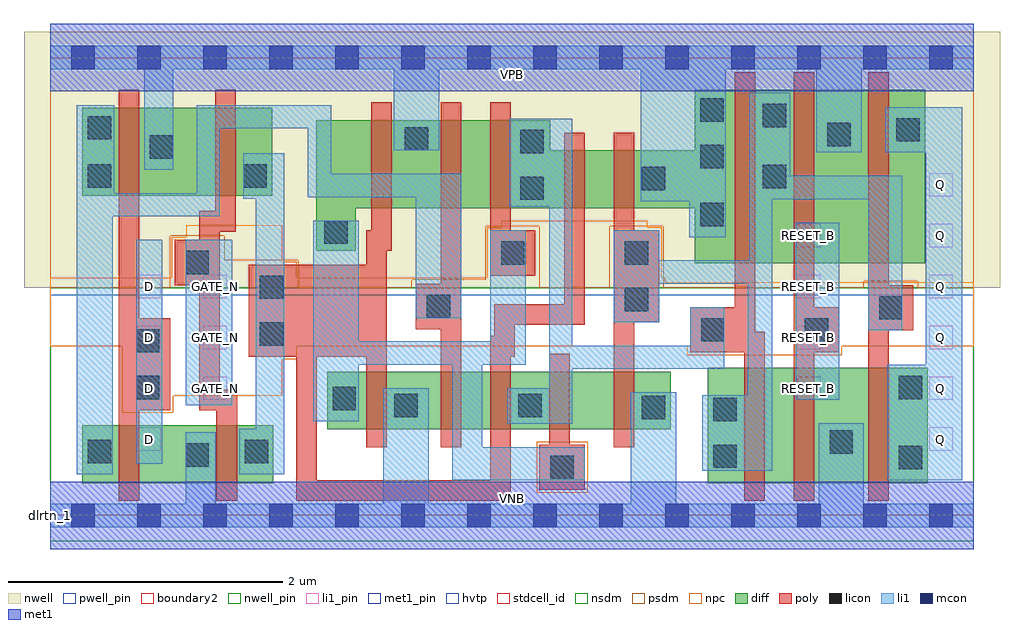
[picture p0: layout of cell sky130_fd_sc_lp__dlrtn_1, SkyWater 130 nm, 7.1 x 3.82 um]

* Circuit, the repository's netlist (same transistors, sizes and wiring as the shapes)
* Copyright 2020 The SkyWater PDK Authors
*
* Licensed under the Apache License, Version 2.0 (the "License");
* you may not use this file except in compliance with the License.
* You may obtain a copy of the License at
*
*     https://www.apache.org/licenses/LICENSE-2.0
*
* Unless required by applicable law or agreed to in writing, software
* distributed under the License is distributed on an "AS IS" BASIS,
* WITHOUT WARRANTIES OR CONDITIONS OF ANY KIND, either express or implied.
* See the License for the specific language governing permissions and
* limitations under the License.
*
* SPDX-License-Identifier: Apache-2.0

.SUBCKT sky130_fd_sc_lp__dlrtn_1 D GATE_N RESET_B VGND VNB VPB VPWR Q
*.PININFO D:I GATE_N:I RESET_B:I VGND:I VNB:I VPB:I VPWR:I Q:O
MI635 clkneg clkpos VPWR VPB sky130_fd_pr__pfet_01v8_hvt m=1 w=0.64U l=0.15U mult=1
+ sa=0.265 sb=0.265 sd=0.28 area=0.063 perim=1.14
MI17 M0 clkneg net51 VPB sky130_fd_pr__pfet_01v8_hvt m=1 w=0.64U l=0.15U mult=1
+ sa=0.265 sb=0.265 sd=0.28 area=0.063 perim=1.14
MI650 Q m1 VPWR VPB sky130_fd_pr__pfet_01v8_hvt m=1 w=1.26U l=0.15U mult=1 sa=0.265
+ sb=0.265 sd=0.28 area=0.063 perim=1.14
MI633 clkpos GATE_N VPWR VPB sky130_fd_pr__pfet_01v8_hvt m=1 w=0.64U l=0.15U mult=1
+ sa=0.265 sb=0.265 sd=0.28 area=0.063 perim=1.14
MI658 m1 RESET_B VPWR VPB sky130_fd_pr__pfet_01v8_hvt m=1 w=1.26U l=0.15U mult=1
+ sa=0.265 sb=0.265 sd=0.28 area=0.063 perim=1.14
MI18 net51 db VPWR VPB sky130_fd_pr__pfet_01v8_hvt m=1 w=0.64U l=0.15U mult=1 sa=0.265
+ sb=0.265 sd=0.28 area=0.063 perim=1.14
MI653 net59 m1 VPWR VPB sky130_fd_pr__pfet_01v8_hvt m=1 w=0.42U l=0.15U mult=1
+ sa=0.265 sb=0.265 sd=0.28 area=0.063 perim=1.14
MI651 M0 clkpos net59 VPB sky130_fd_pr__pfet_01v8_hvt m=1 w=0.42U l=0.15U mult=1
+ sa=0.265 sb=0.265 sd=0.28 area=0.063 perim=1.14
MI655 m1 M0 VPWR VPB sky130_fd_pr__pfet_01v8_hvt m=1 w=1.26U l=0.15U mult=1 sa=0.265
+ sb=0.265 sd=0.28 area=0.063 perim=1.14
MI638 db D VPWR VPB sky130_fd_pr__pfet_01v8_hvt m=1 w=0.64U l=0.15U mult=1 sa=0.265
+ sb=0.265 sd=0.28 area=0.063 perim=1.14
MI634 clkpos GATE_N VGND VNB sky130_fd_pr__nfet_01v8 m=1 w=0.42U l=0.15U mult=1
+ sa=0.265 sb=0.265 sd=0.28 area=0.063 perim=1.14
MI649 Q m1 VGND VNB sky130_fd_pr__nfet_01v8 m=1 w=0.84U l=0.15U mult=1 sa=0.265
+ sb=0.265 sd=0.28 area=0.063 perim=1.14
MI657 net86 RESET_B VGND VNB sky130_fd_pr__nfet_01v8 m=1 w=0.84U l=0.15U mult=1
+ sa=0.265 sb=0.265 sd=0.28 area=0.063 perim=1.14
MI652 M0 clkneg net102 VNB sky130_fd_pr__nfet_01v8 m=1 w=0.42U l=0.15U mult=1 sa=0.265
+ sb=0.265 sd=0.28 area=0.063 perim=1.14
MI654 net102 m1 VGND VNB sky130_fd_pr__nfet_01v8 m=1 w=0.42U l=0.15U mult=1 sa=0.265
+ sb=0.265 sd=0.28 area=0.063 perim=1.14
MI656 m1 M0 net86 VNB sky130_fd_pr__nfet_01v8 m=1 w=0.84U l=0.15U mult=1 sa=0.265
+ sb=0.265 sd=0.28 area=0.063 perim=1.14
MI636 clkneg clkpos VGND VNB sky130_fd_pr__nfet_01v8 m=1 w=0.42U l=0.15U mult=1
+ sa=0.265 sb=0.265 sd=0.28 area=0.063 perim=1.14
MI637 db D VGND VNB sky130_fd_pr__nfet_01v8 m=1 w=0.42U l=0.15U mult=1 sa=0.265
+ sb=0.265 sd=0.28 area=0.063 perim=1.14
MI19 M0 clkpos net98 VNB sky130_fd_pr__nfet_01v8 m=1 w=0.42U l=0.15U mult=1 sa=0.265
+ sb=0.265 sd=0.28 area=0.063 perim=1.14
MI20 net98 db VGND VNB sky130_fd_pr__nfet_01v8 m=1 w=0.42U l=0.15U mult=1 sa=0.265
+ sb=0.265 sd=0.28 area=0.063 perim=1.14
.ENDS sky130_fd_sc_lp__dlrtn_1

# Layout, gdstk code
import gdstk
lib = gdstk.Library(unit=1e-6, precision=1e-09)
def R(c, l, rs):  # rectangles x0, y0, x1, y1
    for r in rs: c.add(gdstk.rectangle(r[:2], r[2:], *l))
def A(c, l, x, y, w, h, nx, ny, dx, dy):  # array of equal rectangles
    R(c, l, [(x+i*dx, y+j*dy, x+i*dx+w, y+j*dy+h) for i in range(nx) for j in range(ny)])
def P(c, l, *ps):  # polygons
    for p in ps: c.add(gdstk.Polygon(p, *l))
nwell_pin = (64, 16)
nwell = (64, 20)
diff = (65, 20)
poly = (66, 20)
licon = (66, 44)
li1_pin = (67, 16)
li1 = (67, 20)
mcon = (67, 44)
met1_pin = (68, 16)
met1 = (68, 20)
hvtp = (78, 44)
stdcell_id = (81, 4)
nsdm = (93, 44)
psdm = (94, 20)
npc = (95, 20)
pwell_pin = (122, 16)
boundary2 = (236, 0)

sky130_fd_sc_lp__dlrtn_1 = lib.new_cell('sky130_fd_sc_lp__dlrtn_1')
R(sky130_fd_sc_lp__dlrtn_1, nwell_pin, [(0,3.085,6.72,3.33)])
R(sky130_fd_sc_lp__dlrtn_1, nwell, [(-0.19,1.655,6.91,3.52)])
R(sky130_fd_sc_lp__dlrtn_1, diff, [(0.235,0.235,1.625,0.655), (4.785,0.235,6.385,1.075), (2.015,0.625,4.515,1.045), (0.235,2.325,1.615,2.965)])
P(sky130_fd_sc_lp__dlrtn_1, diff, [(6.365,3.095),(4.69,3.095),(4.69,2.655),(3.64,2.655),(3.64,2.875),(1.935,2.875),(1.935,1.925),(2.225,1.925),(2.225,2.235),(4.69,2.235),(4.69,1.835),(6.365,1.835)])
P(sky130_fd_sc_lp__dlrtn_1, poly, [(0.875,1.435),(0.65,1.435),(0.65,3.095),(0.5,3.095),(0.5,0.105),(0.65,0.105),(0.65,0.765),(0.875,0.765)],
  [(1.36,0.915),(1.235,0.915),(1.235,2.065),(1.35,2.065),(1.35,3.095),(1.2,3.095),(1.2,2.215),(1.085,2.215),(1.085,2.005),(0.905,2.005),(0.905,1.675),(1.085,1.675),(1.085,0.765),(1.21,0.765),(1.21,0.105),(1.36,0.105)],
  [(2.99,3.005),(2.84,3.005),(2.84,1.685),(2.66,1.685),(2.66,1.355),(2.84,1.355),(2.84,0.495),(2.99,0.495)],
  [(3.53,2.075),(3.35,2.075),(3.35,3.005),(3.2,3.005),(3.2,1.745),(3.53,1.745)],
  [(3.89,2.785),(3.74,2.785),(3.74,1.535),(3.23,1.535),(3.23,1.305),(3.2,1.305),(3.2,0.255),(1.94,0.255),(1.94,1.155),(2.3,1.155),(2.3,0.495),(2.45,0.495),(2.45,1.925),(2.485,1.925),(2.485,3.005),(2.335,3.005),(2.335,2.075),(2.3,2.075),(2.3,1.825),(1.445,1.825),(1.445,1.155),(1.79,1.155),(1.79,0.105),(3.35,0.105),(3.35,1.155),(3.38,1.155),(3.38,1.385),(3.89,1.385)],
  [(3.89,0.515),(3.78,0.515),(3.78,1.175),(3.63,1.175),(3.63,0.515),(3.56,0.515),(3.56,0.185),(3.89,0.185)],
  [(4.43,2.075),(4.25,2.075),(4.25,2.785),(4.1,2.785),(4.1,0.495),(4.25,0.495),(4.25,1.405),(4.43,1.405)],
  [(5.2,1.335),(5.13,1.335),(5.13,3.225),(4.98,3.225),(4.98,1.515),(4.655,1.515),(4.655,1.185),(5.05,1.185),(5.05,0.105),(5.2,0.105)],
  [(5.74,1.515),(5.56,1.515),(5.56,3.225),(5.41,3.225),(5.41,0.105),(5.56,0.105),(5.56,1.185),(5.74,1.185)],
  [(6.28,1.675),(6.1,1.675),(6.1,3.225),(5.95,3.225),(5.95,0.105),(6.1,0.105),(6.1,1.345),(6.28,1.345)])
R(sky130_fd_sc_lp__dlrtn_1, licon, [(3.64,0.265,3.81,0.435), (6.175,0.335,6.345,0.505), (4.825,0.345,4.995,0.515), (0.985,0.355,1.155,0.525), (0.275,0.38,0.445,0.55), (1.415,0.38,1.585,0.55), (5.67,0.45,5.84,0.62), (4.825,0.685,4.995,0.855), (4.305,0.7,4.475,0.87), (2.505,0.715,2.675,0.885), (3.405,0.715,3.575,0.885), (2.055,0.765,2.225,0.935), (0.625,0.845,0.795,1.015), (6.175,0.845,6.345,1.015), (0.625,1.185,0.795,1.355), (1.525,1.235,1.695,1.405), (4.735,1.265,4.905,1.435), (5.49,1.265,5.66,1.435), (6.03,1.425,6.2,1.595), (2.74,1.435,2.91,1.605), (4.18,1.485,4.35,1.655), (1.525,1.575,1.695,1.745), (0.985,1.755,1.155,1.925), (3.28,1.825,3.45,1.995), (4.18,1.825,4.35,1.995), (1.995,1.975,2.165,2.145), (4.73,2.105,4.9,2.275), (3.42,2.295,3.59,2.465), (4.305,2.365,4.475,2.535), (5.185,2.38,5.355,2.55), (0.275,2.385,0.445,2.555), (1.405,2.385,1.575,2.555), (4.73,2.525,4.9,2.695), (0.725,2.595,0.895,2.765), (3.42,2.635,3.59,2.805), (2.58,2.655,2.75,2.825), (5.655,2.685,5.825,2.855), (6.155,2.72,6.325,2.89), (0.275,2.735,0.445,2.905), (5.185,2.825,5.355,2.995), (4.73,2.865,4.9,3.035)])
A(sky130_fd_sc_lp__dlrtn_1, li1_pin, 0.635, 0.47, 0.17, 0.17, 1, 4, 0, 0.37)
A(sky130_fd_sc_lp__dlrtn_1, li1_pin, 6.395, 0.47, 0.17, 0.17, 1, 6, 0, 0.37)
A(sky130_fd_sc_lp__dlrtn_1, li1_pin, 1.115, 0.84, 0.17, 0.17, 1, 3, 0, 0.37)
A(sky130_fd_sc_lp__dlrtn_1, li1_pin, 5.435, 0.84, 0.17, 0.17, 1, 4, 0, 0.37)
R(sky130_fd_sc_lp__dlrtn_1, li1, [(0.625,0.375,0.815,2.005), (0.985,0.8,1.325,2.005), (5.425,0.84,5.74,2.13)])
P(sky130_fd_sc_lp__dlrtn_1, li1, [(1.915,0.685),(1.915,2.145),(2.245,2.145),(2.245,1.265),(3.2,1.265),(3.2,2.075),(3.46,2.075),(3.46,1.095),(3.145,1.095),(3.145,0.495),(3.89,0.495),(3.89,0.255),(2.925,0.255),(2.925,1.095),(2.245,1.095),(2.245,0.685)],
  [(0.985,0.085),(0.985,0.605),(1.205,0.605),(1.205,0.085),(2.425,0.085),(2.425,0.925),(2.755,0.925),(2.755,0.085),(4.225,0.085),(4.225,0.895),(4.555,0.895),(4.555,0.085),(5.59,0.085),(5.59,0.67),(5.92,0.67),(5.92,0.085),(6.72,0.085),(6.72,-0.085),(0,-0.085),(0,0.085)],
  [(6.2,2.47),(5.385,2.47),(5.385,3.075),(5.085,3.075),(5.085,1.855),(4.43,1.855),(4.43,2.075),(4.1,2.075),(4.1,1.405),(4.43,1.405),(4.43,1.685),(5.075,1.685),(5.075,0.875),(4.745,0.875),(4.745,0.325),(5.255,0.325),(5.255,2.3),(5.95,2.3),(5.95,1.345),(6.2,1.345)],
  [(6.635,2.97),(6.635,0.255),(6.09,0.255),(6.09,1.095),(6.37,1.095),(6.37,2.64),(6.075,2.64),(6.075,2.97)],
  [(3.8,1.235),(4.655,1.235),(4.655,1.515),(4.905,1.515),(4.905,1.065),(3.8,1.065),(3.8,0.665),(3.325,0.665),(3.325,0.925),(3.63,0.925),(3.63,2.245),(3.34,2.245),(3.34,2.885),(3.8,2.885)],
  [(1.495,0.63),(1.495,2.305),(1.405,2.305),(1.405,2.635),(1.705,2.635),(1.705,0.3),(1.375,0.3),(1.375,0.63)],
  [(0.195,0.3),(0.195,2.985),(0.465,2.985),(0.465,2.345),(1.065,2.345),(1.065,2.985),(2.045,2.985),(2.045,2.485),(2.99,2.485),(2.99,1.435),(2.66,1.435),(2.66,2.315),(1.875,2.315),(1.875,2.815),(1.235,2.815),(1.235,2.175),(0.455,2.175),(0.455,0.3)],
  [(6.72,3.415),(0,3.415),(0,3.245),(0.685,3.245),(0.685,2.515),(0.895,2.515),(0.895,3.245),(2.5,3.245),(2.5,2.655),(2.83,2.655),(2.83,3.245),(4.295,3.245),(4.295,2.285),(4.65,2.285),(4.65,2.025),(4.915,2.025),(4.915,3.245),(5.575,3.245),(5.575,2.64),(5.905,2.64),(5.905,3.245),(6.72,3.245)])
A(sky130_fd_sc_lp__dlrtn_1, mcon, 0.155, -0.085, 0.17, 0.17, 14, 2, 0.48, 3.33)
R(sky130_fd_sc_lp__dlrtn_1, met1_pin, [(0,0,6.72,0.245), (0,3.085,6.72,3.33)])
R(sky130_fd_sc_lp__dlrtn_1, met1, [(0,-0.245,6.72,0.245), (0,3.085,6.72,3.575)])
R(sky130_fd_sc_lp__dlrtn_1, hvtp, [(0,1.6,6.72,3.33)])
R(sky130_fd_sc_lp__dlrtn_1, stdcell_id, [(0,0,6.72,3.33)])
R(sky130_fd_sc_lp__dlrtn_1, nsdm, [(0,-0.19,6.72,1.655)])
P(sky130_fd_sc_lp__dlrtn_1, psdm, [(6.72,3.52),(0,3.52),(0,1.655),(0.875,1.655),(0.875,2.035),(1.265,2.035),(1.265,1.855),(1.805,1.855),(1.805,1.655),(2.63,1.655),(2.63,1.715),(3.17,1.715),(3.17,2.105),(3.56,2.105),(3.56,1.655),(4.07,1.655),(4.07,2.105),(4.46,2.105),(4.46,1.655),(5.92,1.655),(5.92,1.705),(6.31,1.705),(6.31,1.655),(6.72,1.655)])
R(sky130_fd_sc_lp__dlrtn_1, npc, [(3.54,0.165,3.91,0.535)])
P(sky130_fd_sc_lp__dlrtn_1, npc, [(6.72,1.695),(4.475,1.695),(4.475,1.73),(4.45,1.73),(4.45,2.095),(4.345,2.095),(4.345,2.145),(3.285,2.145),(3.285,2.095),(3.18,2.095),(3.18,1.73),(1.795,1.73),(1.795,1.845),(1.69,1.845),(1.69,2.11),(0.99,2.11),(0.99,2.025),(0.885,2.025),(0.885,1.73),(0,1.73),(0,1.23),(0.525,1.23),(0.525,0.745),(0.895,0.745),(0.895,0.87),(1.69,0.87),(1.69,1.135),(1.795,1.135),(1.795,1.23),(4.635,1.23),(4.635,1.165),(5.76,1.165),(5.76,1.23),(6.72,1.23)])
R(sky130_fd_sc_lp__dlrtn_1, pwell_pin, [(0,0,6.72,0.245)])
R(sky130_fd_sc_lp__dlrtn_1, boundary2, [(0,0,6.72,3.33)])
sky130_fd_sc_lp__dlrtn_1.add(gdstk.Label('VNB', (3.36,0.123), layer=64, texttype=59))
sky130_fd_sc_lp__dlrtn_1.add(gdstk.Label('VPB', (3.36,3.208), layer=64, texttype=5))
sky130_fd_sc_lp__dlrtn_1.add(gdstk.Label('dlrtn_1', (0,0), layer=83, texttype=44))
sky130_fd_sc_lp__dlrtn_1.add(gdstk.Label('VPWR', (3.36,3.208), layer=68, texttype=5))
sky130_fd_sc_lp__dlrtn_1.add(gdstk.Label('VGND', (3.36,0.123), layer=68, texttype=5))
sky130_fd_sc_lp__dlrtn_1.add(gdstk.Label('D', (0.72,0.555), layer=67, texttype=5))
sky130_fd_sc_lp__dlrtn_1.add(gdstk.Label('D', (0.72,0.925), layer=67, texttype=5))
sky130_fd_sc_lp__dlrtn_1.add(gdstk.Label('D', (0.72,1.295), layer=67, texttype=5))
sky130_fd_sc_lp__dlrtn_1.add(gdstk.Label('D', (0.72,1.665), layer=67, texttype=5))
sky130_fd_sc_lp__dlrtn_1.add(gdstk.Label('GATE_N', (1.2,0.925), layer=67, texttype=5))
sky130_fd_sc_lp__dlrtn_1.add(gdstk.Label('GATE_N', (1.2,1.295), layer=67, texttype=5))
sky130_fd_sc_lp__dlrtn_1.add(gdstk.Label('GATE_N', (1.2,1.665), layer=67, texttype=5))
sky130_fd_sc_lp__dlrtn_1.add(gdstk.Label('RESET_B', (5.52,0.925), layer=67, texttype=5))
sky130_fd_sc_lp__dlrtn_1.add(gdstk.Label('RESET_B', (5.52,1.295), layer=67, texttype=5))
sky130_fd_sc_lp__dlrtn_1.add(gdstk.Label('RESET_B', (5.52,1.665), layer=67, texttype=5))
sky130_fd_sc_lp__dlrtn_1.add(gdstk.Label('RESET_B', (5.52,2.035), layer=67, texttype=5))
sky130_fd_sc_lp__dlrtn_1.add(gdstk.Label('Q', (6.48,0.555), layer=67, texttype=5))
sky130_fd_sc_lp__dlrtn_1.add(gdstk.Label('Q', (6.48,0.925), layer=67, texttype=5))
sky130_fd_sc_lp__dlrtn_1.add(gdstk.Label('Q', (6.48,1.295), layer=67, texttype=5))
sky130_fd_sc_lp__dlrtn_1.add(gdstk.Label('Q', (6.48,1.665), layer=67, texttype=5))
sky130_fd_sc_lp__dlrtn_1.add(gdstk.Label('Q', (6.48,2.035), layer=67, texttype=5))
sky130_fd_sc_lp__dlrtn_1.add(gdstk.Label('Q', (6.48,2.405), layer=67, texttype=5))

lib.write_gds('sky130_fd_sc_lp__dlrtn_1.gds')
